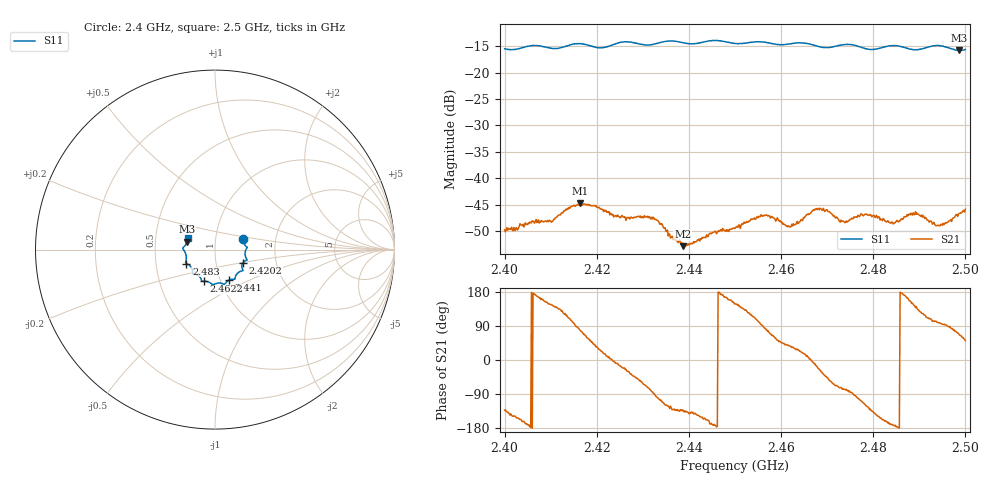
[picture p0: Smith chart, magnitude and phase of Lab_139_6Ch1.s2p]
# Hz S RI R 50
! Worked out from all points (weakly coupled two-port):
!   601 points, 2.4 GHz to 2.5 GHz, reference 50 ohm
!   highest |S21| = -44.68 dB at 2.4163 GHz (marker M1); lowest = -52.8 dB at 2.4387 GHz (marker M2)
!   lowest |S11| = -15.8 dB at 2.4987 GHz (marker M3), VSWR 1.39, Z = 36.4 + j3.3 ohm
!   |S11| at or under -10 dB: start of sweep to end of sweep
!   S12 and S22 are empty: the file has one direction only
!   S11 on the Smith chart (normalised r, x): 2.4 GHz: 1.36, +0.17; 2.4202 GHz: 1.35, -0.20; 2.441 GHz: 1.10, -0.39; 2.4622 GHz: 0.83, -0.30; 2.483 GHz: 0.72, -0.12; 2.5 GHz: 0.73, +0.09
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2.4e9  0.1565 0.0604  -0.00221 -0.00239  0 0  0 0
2.410333e9  0.1686 -0.011  -0.0032 0.00224  0 0  0 0
2.416333e9  0.1786 -0.0578  0.0011 0.00573  0 0  0 0
2.416667e9  0.1778 -0.0583  0.00145 0.00552  0 0  0 0
2.420167e9  0.1562 -0.072  0.00448 0.00289  0 0  0 0
2.423833e9  0.1521 -0.106  0.00438 -0.000305  0 0  0 0
2.433333e9  0.113 -0.1524  -0.000755 -0.0039  0 0  0 0
2.438667e9  0.0987 -0.1644  -0.00152 -0.00171  0 0  0 0
2.441e9  0.0771 -0.1703  -0.00199 -0.00154  0 0  0 0
2.45e9  0.0266 -0.1863  -0.00285 0.0018  0 0  0 0
2.456167e9  -0.0145 -0.1936  0.000177 0.00447  0 0  0 0
2.462167e9  -0.063 -0.1765  0.00285 0.00204  0 0  0 0
2.466667e9  -0.0766 -0.167  0.00483 -0.000226  0 0  0 0
2.469667e9  -0.0933 -0.1442  0.00364 -0.00339  0 0  0 0
2.473333e9  -0.1221 -0.1363  0.000849 -0.00384  0 0  0 0
2.478667e9  -0.1282 -0.1066  -0.00245 -0.0038  0 0  0 0
2.483e9  -0.1591 -0.0781  -0.00373 -0.00116  0 0  0 0
2.483333e9  -0.1606 -0.0773  -0.0037 -0.00103  0 0  0 0
2.489167e9  -0.1608 -0.0331  -0.00361 0.00322  0 0  0 0
2.494e9  -0.18 0.00695  -0.000543 0.00357  0 0  0 0
2.498667e9  -0.1558 0.0441  0.00185 0.00427  0 0  0 0
2.5e9  -0.1526 0.0626  0.00321 0.00397  0 0  0 0
